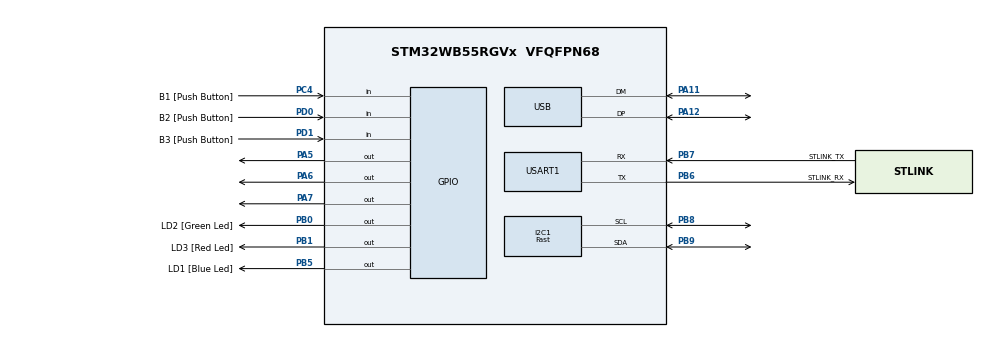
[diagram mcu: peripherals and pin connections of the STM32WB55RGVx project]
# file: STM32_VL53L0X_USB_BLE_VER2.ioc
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I2C1.I2C_Speed_Mode=I2C_Fast
I2C1.Timing=0x00300F38
Mcu.Family=STM32WB
Mcu.Name=STM32WB55RGVx
Mcu.Package=VFQFPN68
NVIC.HSEM_IRQn=true\:0\:0\:false\:false\:true\:false\:true\:true
NVIC.IPCC_C1_RX_IRQn=true\:0\:0\:false\:false\:true\:true\:true\:true
NVIC.IPCC_C1_TX_IRQn=true\:0\:0\:false\:false\:true\:true\:true\:true
NVIC.PriorityGroup=NVIC_PRIORITYGROUP_4
NVIC.USB_LP_IRQn=true\:0\:0\:false\:false\:true\:false\:true\:true
OSC_IN.Mode=HSE-External-Oscillator
OSC_IN.Signal=RCC_OSC_IN
OSC_OUT.Mode=HSE-External-Oscillator
OSC_OUT.Signal=RCC_OSC_OUT
PA11.Mode=Device
PA11.Signal=USB_DM
PA12.Mode=Device
PA12.Signal=USB_DP
PA13.GPIO_Label=JTMS
PA13.Mode=Trace_Asynchronous_SW
PA13.Signal=SYS_JTMS-SWDIO
PA14.GPIO_Label=JTCK
PA14.Mode=Trace_Asynchronous_SW
PA14.Signal=SYS_JTCK-SWCLK
PA5.Signal=GPIO_Output
PA6.Signal=GPIO_Output
PA7.Signal=GPIO_Output
PB0.GPIO_Label=LD2 [Green Led]
PB0.Signal=GPIO_Output
PB1.GPIO_Label=LD3 [Red Led]
PB1.Signal=GPIO_Output
PB3.GPIO_Label=JTDO
PB3.Mode=Trace_Asynchronous_SW
PB3.Signal=SYS_JTDO-SWO
PB5.GPIO_Label=LD1 [Blue Led]
PB5.Signal=GPIO_Output
PB6.GPIO_Label=STLINK_RX
PB6.GPIO_PuPd=GPIO_PULLUP
PB6.Mode=Asynchronous
PB6.Signal=USART1_TX
PB7.GPIO_Label=STLINK_TX
PB7.GPIO_PuPd=GPIO_PULLUP
PB7.Mode=Asynchronous
PB7.Signal=USART1_RX
PB8.Mode=I2C
PB8.Signal=I2C1_SCL
PB9.Mode=I2C
PB9.Signal=I2C1_SDA
PC13.Mode=SYS_WakeUp1
PC13.Signal=SYS_WKUP2
PC14-OSC32_IN.Mode=LSE-External-Oscillator
PC14-OSC32_IN.Signal=RCC_OSC32_IN
PC15-OSC32_OUT.Mode=LSE-External-Oscillator
PC15-OSC32_OUT.Signal=RCC_OSC32_OUT
PC4.GPIO_Label=B1 [Push Button]
PC4.GPIO_PuPd=GPIO_PULLUP
PC4.Signal=GPIO_Input
PD0.GPIO_Label=B2 [Push Button]
PD0.Signal=GPIO_Input
PD1.GPIO_Label=B3 [Push Button]
PD1.Signal=GPIO_Input
ProjectManager.HeapSize=0x800
ProjectManager.StackSize=0x800
ProjectManager.TargetToolchain=STM32CubeIDE
RCC.ADCFreq_Value=48000000
RCC.AHBFreq_Value=32000000
RCC.APB1Freq_Value=32000000
RCC.APB1TimFreq_Value=32000000
RCC.APB2Freq_Value=32000000
RCC.APB2TimFreq_Value=32000000
RCC.APB3Freq_Value=16000000
RCC.CK48CLockSelection=RCC_USBCLKSOURCE_HSI48
RCC.CortexFreq_Value=32000000
RCC.HCLKFreq_Value=32000000
RCC.HSE_VALUE=32000000
RCC.HSI48_VALUE=48000000
RCC.HSI_VALUE=16000000
RCC.PLLN=24
RCC.PLLR=RCC_PLLR_DIV3
RCC.PLLSAI1N=24
RCC.RFWKPClockSelection=RCC_RFWKPCLKSOURCE_LSE
RCC.RTCClockSelection=RCC_RTCCLKSOURCE_LSE
RCC.SMPSCLockSelectionVirtual=RCC_SMPSCLKSOURCE_HSI
RCC.SMPSCLockSelectionVirtualVirtual=RCC_SMPSCLKSOURCE_HSI
RCC.SMPSDivider=1
RCC.SYSCLKFreq_VALUE=32000000
RCC.SYSCLKSource=RCC_SYSCLKSOURCE_PLLCLK
RCC.USBFreq_Value=48000000
RCC.VCOOutputFreq_Value=96000000
RF1.Mode=RF1_Activate
RF1.Signal=RF_RF1
STM32_WPAN.AD_TYPE_COMPLETE_LOCAL_NAME=JAEHYUN
STM32_WPAN.AD_TYPE_COMPLETE_LOCAL_NAME_LENGTH=8
STM32_WPAN.APPLI_PRINT_FILE_FUNC_LINE=0
STM32_WPAN.CFG_CLI_UART=No UART selected
STM32_WPAN.CFG_DEBUG_TRACE=0
STM32_WPAN.CFG_FULL_LOW_POWER=0
STM32_WPAN.CFG_UART_GUI=No UART selected
STM32_WPAN.CFG_USB_INTERFACE_ENABLE=Disabled
STM32_WPAN.CHANNEL=0
STM32_WPAN.CUSTOM_P2P_SERVER=Disabled
STM32_WPAN.CUSTOM_TEMPLATE=Enabled
STM32_WPAN.INCLUDE_AD_TYPE_COMPLETE_LOCAL_NAME=1
STM32_WPAN.LOCAL_NAME=0
STM32_WPAN.LOCAL_NAME_FORMATTED=LocalName
STM32_WPAN.NETWORKKEY=0
STM32_WPAN.NUMBER_OF_SERVICES=1
STM32_WPAN.OFFSET_PAYLOAD_DATA=10
STM32_WPAN.OFFSET_PAYLOAD_LENGTH=9
STM32_WPAN.PANID=0
STM32_WPAN.SERVICE1_CHAR1_GATT_NOTIFY_READ_REQ_AND_WAIT_FOR_APPL_RESP=\ 
STM32_WPAN.SERVICE1_CHAR1_GATT_NOTIFY_WRITE_REQ_AND_WAIT_FOR_APPL_RESP=\ 
STM32_WPAN.SERVICE1_CHAR1_LONG_NAME=myCharWrite
STM32_WPAN.SERVICE1_CHAR1_PROP_WRITE=CHAR_PROP_WRITE
STM32_WPAN.SERVICE1_CHAR1_SHORT_NAME=myCharWrite
STM32_WPAN.SERVICE1_CHAR2_UUID=0
STM32_WPAN.SERVICE1_CHAR2_UUID_128_INPUT_TYPE=0
STM32_WPAN.SERVICE1_CHAR2_UUID_TYPE=0
STM32_WPAN.SERVICE1_CHAR3_UUID=0
STM32_WPAN.SERVICE1_CHAR3_UUID_128_INPUT_TYPE=0
STM32_WPAN.SERVICE1_CHAR3_UUID_TYPE=0
STM32_WPAN.SERVICE1_CHAR4_UUID_128_INPUT_TYPE=0
STM32_WPAN.SERVICE1_CHAR4_UUID_TYPE=0
STM32_WPAN.SERVICE1_CHAR5_UUID=0
STM32_WPAN.SERVICE1_CHAR5_UUID_128_INPUT_TYPE=0
STM32_WPAN.SERVICE1_CHAR5_UUID_TYPE=0
STM32_WPAN.SERVICE1_LONG_NAME=mySVC
STM32_WPAN.SERVICE1_SHORT_NAME=mySVC
STM32_WPAN.SERVICE2_CHAR1_UUID=0
STM32_WPAN.SERVICE2_CHAR1_UUID_128_INPUT_TYPE=0
STM32_WPAN.SERVICE2_CHAR1_UUID_TYPE=0
STM32_WPAN.SERVICE2_CHAR2_UUID=0
STM32_WPAN.SERVICE2_CHAR2_UUID_128_INPUT_TYPE=0
STM32_WPAN.SERVICE2_CHAR2_UUID_TYPE=0
STM32_WPAN.SERVICE2_CHAR3_UUID=0
STM32_WPAN.SERVICE2_CHAR3_UUID_128_INPUT_TYPE=0
STM32_WPAN.SERVICE2_CHAR3_UUID_TYPE=0
STM32_WPAN.SERVICE2_CHAR4_UUID=0
STM32_WPAN.SERVICE2_CHAR4_UUID_128_INPUT_TYPE=0
STM32_WPAN.SERVICE2_CHAR4_UUID_TYPE=0
STM32_WPAN.SERVICE2_CHAR5_UUID=0
STM32_WPAN.SERVICE2_CHAR5_UUID_128_INPUT_TYPE=0
STM32_WPAN.SERVICE2_CHAR5_UUID_TYPE=0
STM32_WPAN.SERVICE2_MAX_ATTRIBUTES_RECORDS=0
STM32_WPAN.SERVICE2_UUID_TYPE=0
STM32_WPAN.SERVICE3_CHAR1_UUID=0
STM32_WPAN.SERVICE3_CHAR1_UUID_128_INPUT_TYPE=0
STM32_WPAN.SERVICE3_CHAR1_UUID_TYPE=0
STM32_WPAN.SERVICE3_CHAR2_UUID=0
STM32_WPAN.SERVICE3_CHAR2_UUID_128_INPUT_TYPE=0
STM32_WPAN.SERVICE3_CHAR2_UUID_TYPE=0
STM32_WPAN.SERVICE3_CHAR3_UUID=0
STM32_WPAN.SERVICE3_CHAR3_UUID_128_INPUT_TYPE=0
STM32_WPAN.SERVICE3_CHAR3_UUID_TYPE=0
STM32_WPAN.SERVICE3_CHAR4_UUID=0
STM32_WPAN.SERVICE3_CHAR4_UUID_128_INPUT_TYPE=0
STM32_WPAN.SERVICE3_CHAR4_UUID_TYPE=0
STM32_WPAN.SERVICE3_CHAR5_UUID=0
STM32_WPAN.SERVICE3_CHAR5_UUID_128_INPUT_TYPE=0
STM32_WPAN.SERVICE3_CHAR5_UUID_TYPE=0
STM32_WPAN.SERVICE3_MAX_ATTRIBUTES_RECORDS=0
STM32_WPAN.SERVICE3_UUID_TYPE=0
STM32_WPAN.SERVICE4_CHAR1_UUID=0
STM32_WPAN.SERVICE4_CHAR1_UUID_128_INPUT_TYPE=0
STM32_WPAN.SERVICE4_CHAR1_UUID_TYPE=0
STM32_WPAN.SERVICE4_CHAR2_UUID=0
STM32_WPAN.SERVICE4_CHAR2_UUID_128_INPUT_TYPE=0
STM32_WPAN.SERVICE4_CHAR2_UUID_TYPE=0
STM32_WPAN.SERVICE4_CHAR3_UUID=0
STM32_WPAN.SERVICE4_CHAR3_UUID_128_INPUT_TYPE=0
STM32_WPAN.SERVICE4_CHAR3_UUID_TYPE=0
STM32_WPAN.SERVICE4_CHAR4_UUID=0
STM32_WPAN.SERVICE4_CHAR4_UUID_128_INPUT_TYPE=0
STM32_WPAN.SERVICE4_CHAR4_UUID_TYPE=0
STM32_WPAN.SERVICE4_CHAR5_UUID=0
STM32_WPAN.SERVICE4_CHAR5_UUID_128_INPUT_TYPE=0
STM32_WPAN.SERVICE4_CHAR5_UUID_TYPE=0
STM32_WPAN.SERVICE4_MAX_ATTRIBUTES_RECORDS=0
STM32_WPAN.SERVICE4_UUID_TYPE=0
STM32_WPAN.SERVICE5_CHAR1_UUID=0
STM32_WPAN.SERVICE5_CHAR1_UUID_128_INPUT_TYPE=0
STM32_WPAN.SERVICE5_CHAR1_UUID_TYPE=0
STM32_WPAN.SERVICE5_CHAR2_UUID=0
STM32_WPAN.SERVICE5_CHAR2_UUID_128_INPUT_TYPE=0
STM32_WPAN.SERVICE5_CHAR2_UUID_TYPE=0
STM32_WPAN.SERVICE5_CHAR3_UUID=0
STM32_WPAN.SERVICE5_CHAR3_UUID_128_INPUT_TYPE=0
STM32_WPAN.SERVICE5_CHAR3_UUID_TYPE=0
STM32_WPAN.SERVICE5_CHAR4_UUID=0
STM32_WPAN.SERVICE5_CHAR4_UUID_128_INPUT_TYPE=0
STM32_WPAN.SERVICE5_CHAR4_UUID_TYPE=0
STM32_WPAN.SERVICE5_CHAR5_UUID=0
STM32_WPAN.SERVICE5_CHAR5_UUID_128_INPUT_TYPE=0
STM32_WPAN.SERVICE5_CHAR5_UUID_TYPE=0
STM32_WPAN.SERVICE5_MAX_ATTRIBUTES_RECORDS=0
STM32_WPAN.SERVICE5_UUID_TYPE=0
USART1.VirtualMode-Asynchronous=VM_ASYNC
USB_DEVICE.CLASS_NAME_FS=CDC
USB_DEVICE.VirtualMode=Cdc
USB_DEVICE.VirtualModeFS=Cdc_FS
VP_HSEM_VS_HSEM.Mode=HSEM_Activate
VP_IPCC_VS_IPCC.Mode=IPCC_Activate
VP_RTC_VS_RTC_Activate.Mode=RTC_Enabled
VP_SEQUENCER_VS_SEQUENCER.Mode=SEQUENCER_Enabled
VP_STM32_WPAN_VS_BLE_HOST.Mode=STM32_WPAN_Enabled
VP_TINY_LPM_VS_TINY_LPM.Mode=TINY_LPM_Enabled
VP_USB_DEVICE_VS_USB_DEVICE_CDC_FS.Mode=CDC_FS
board=P-NUCLEO-WB55-NUCLEO

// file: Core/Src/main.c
/* USER CODE BEGIN Header */
/**
  ******************************************************************************
  * @file           : main.c
  * @brief          : Main program body
  ******************************************************************************
  * @attention
  *
  * Copyright (c) 2022 STMicroelectronics.
  * All rights reserved.
  *
  * This software is licensed under terms that can be found in the LICENSE file
  * in the root directory of this software component.
  * If no LICENSE file comes with this software, it is provided AS-IS.
  *
  ******************************************************************************
  */
/* USER CODE END Header */
#include "main.h"
#include "usb_device.h"

/* USER CODE BEGIN Includes */
#include <stdio.h>
#include <strings.h>
#include "vl53l0x_api.h"
#include "vl53l0x_platform.h"
/* USER CODE END Includes */

I2C_HandleTypeDef hi2c1;

IPCC_HandleTypeDef hipcc;

RTC_HandleTypeDef hrtc;

UART_HandleTypeDef huart1;

void SystemClock_Config(void);
void PeriphCommonClock_Config(void);
static void MX_GPIO_Init(void);
static void MX_USART1_UART_Init(void);
static void MX_IPCC_Init(void);
static void MX_RF_Init(void);
static void MX_RTC_Init(void);
static void MX_I2C1_Init(void);

/* USER CODE BEGIN 0 */
int count = 0;
int flag = 10;
VL53L0X_RangingMeasurementData_t RangingMeasurementData;
VL53L0X_Dev_t		dev;
VL53L0X_DEV			Dev = &dev;
char ary[50];
int sensor = 0;
uint16_t stop = 10000;
void print_pal_error(VL53L0X_Error Status){
    char buf[VL53L0X_MAX_STRING_LENGTH];
    VL53L0X_GetPalErrorString(Status, buf);
//    sprintf(ary,"API Status: %i : %s\n", Status, buf);
//    HAL_UART_Transmit(&huart1, ary, strlen((char*)ary), 0xFFFF);
}

VL53L0X_Error rangingTest(VL53L0X_Dev_t *pMyDevice)
{

    VL53L0X_Error Status = VL53L0X_ERROR_NONE;
    VL53L0X_RangingMeasurementData_t    RangingMeasurementData;
    int i;
    FixPoint1616_t LimitCheckCurrent;
    uint32_t refSpadCount;
    uint8_t isApertureSpads;
    uint8_t VhvSettings;
    uint8_t PhaseCal;

    if(Status == VL53L0X_ERROR_NONE)
    {
//        sprintf (ary,"Call of VL53L0X_StaticInit\n");
//        HAL_UART_Transmit(&huart1, ary, strlen((char*)ary), 0xFFFF);
        Status = VL53L0X_StaticInit(pMyDevice); // Device Initialization
        print_pal_error(Status);
    }

    if(Status == VL53L0X_ERROR_NONE)
    {
//        sprintf (ary,"Call of VL53L0X_PerformRefCalibration\n");
//        HAL_UART_Transmit(&huart1, ary, strlen((char*)ary), 0xFFFF);
        Status = VL53L0X_PerformRefCalibration(pMyDevice,
        		&VhvSettings, &PhaseCal); // Device Initialization
        print_pal_error(Status);
    }

    if(Status == VL53L0X_ERROR_NONE)
    {
//        printf ("Call of VL53L0X_PerformRefSpadManagement\n");
        Status = VL53L0X_PerformRefSpadManagement(pMyDevice,
        		&refSpadCount, &isApertureSpads); // Device Initialization
//        printf ("refSpadCount = %d, isApertureSpads = %d\n", refSpadCount, isApertureSpads);
        print_pal_error(Status);
    }

    if(Status == VL53L0X_ERROR_NONE)
    {

        // no need to do this when we use VL53L0X_PerformSingleRangingMeasurement
//        printf ("Call of VL53L0X_SetDeviceMode\n");
        Status = VL53L0X_SetDeviceMode(pMyDevice, VL53L0X_DEVICEMODE_SINGLE_RANGING); // Setup in single ranging mode
        print_pal_error(Status);
    }

    // Enable/Disable Sigma and Signal check
    if (Status == VL53L0X_ERROR_NONE) {
        Status = VL53L0X_SetLimitCheckEnable(pMyDevice,
        		VL53L0X_CHECKENABLE_SIGMA_FINAL_RANGE, 1);
    }
    if (Status == VL53L0X_ERROR_NONE) {
        Status = VL53L0X_SetLimitCheckEnable(pMyDevice,
        		VL53L0X_CHECKENABLE_SIGNAL_RATE_FINAL_RANGE, 1);
    }

    if (Status == VL53L0X_ERROR_NONE) {
        Status = VL53L0X_SetLimitCheckEnable(pMyDevice,
        		VL53L0X_CHECKENABLE_RANGE_IGNORE_THRESHOLD, 1);
    }

    if (Status == VL53L0X_ERROR_NONE) {
        Status = VL53L0X_SetLimitCheckValue(pMyDevice,
        		VL53L0X_CHECKENABLE_RANGE_IGNORE_THRESHOLD,
        		(FixPoint1616_t)(1.5*0.023*65536));
    }

    /*
     *  Step  4 : Test ranging mode
     */

    if(Status == VL53L0X_ERROR_NONE)
    {
//        for(i=0;i<10;i++){
//            printf ("Call of VL53L0X_PerformSingleRangingMeasurement\n");
            Status = VL53L0X_PerformSingleRangingMeasurement(pMyDevice,
            		&RangingMeasurementData);

            print_pal_error(Status);
            print_range_status(&RangingMeasurementData);

            VL53L0X_GetLimitCheckCurrent(pMyDevice,
            		VL53L0X_CHECKENABLE_RANGE_IGNORE_THRESHOLD, &LimitCheckCurrent);

//            sprintf(ary,"RANGE IGNORE THRESHOLD: %f\n\n", (float)LimitCheckCurrent/65536.0);
//            HAL_UART_Transmit(&huart1, ary, strlen((char*)ary), 0xFFFF);

//            if (Status != VL53L0X_ERROR_NONE) break;

            sprintf(ary,"distance: %icm\n\r",RangingMeasurementData.RangeMilliMeter/1000);
            HAL_UART_Transmit(&huart1, ary, strlen((char*)ary), 10);
                        	if(RangingMeasurementData.RangeMilliMeter < stop){
                        		sensor = 1;
                        }
    }
    return Status;
}
void print_range_status(VL53L0X_RangingMeasurementData_t* pRangingMeasurementData){ //범위 ?��?�� 문자?�� ?��출함?��
    char buf[VL53L0X_MAX_STRING_LENGTH];
    uint8_t RangeStatus;

    /*
     * New Range Status: data is valid when pRangingMeasurementData->RangeStatus = 0
     */

    RangeStatus = pRangingMeasurementData->RangeStatus;

    VL53L0X_GetRangeStatusString(RangeStatus, buf);
//    sprintf(ary,"Range Status: %i : %s\n", RangeStatus, buf);
//    HAL_UART_Transmit(&huart1, ary, strlen((char*)ary), 0xFFFF);

}
/* USER CODE END 0 */

int main(void)
{
  /* USER CODE BEGIN 1 */
	uint8_t emergency[] = "p";
	uint8_t safy[] = "y";
	VL53L0X_Error Status = VL53L0X_ERROR_NONE;
			VL53L0X_Dev_t MyDevice;
			VL53L0X_Dev_t *pMyDevice = &MyDevice;
			int32_t init_done = 0;
  /* USER CODE END 1 */

  /* MCU Configuration--------------------------------------------------------*/

  /* Reset of all peripherals, Initializes the Flash interface and the Systick. */
  HAL_Init();
  /* Config code for STM32_WPAN (HSE Tuning must be done before system clock configuration) */
  MX_APPE_Config();

  /* Configure the system clock */
  SystemClock_Config();

/* Configure the peripherals common clocks */
  PeriphCommonClock_Config();

  /* IPCC initialisation */
   MX_IPCC_Init();

  /* Initialize all configured peripherals */
  MX_GPIO_Init();
  MX_USB_Device_Init();
  MX_USART1_UART_Init();
  MX_RF_Init();
  MX_RTC_Init();
  MX_I2C1_Init();
  /* USER CODE BEGIN 2 */
  pMyDevice->I2cDevAddr      = 0x52;
     pMyDevice->comms_type      =  1;
     pMyDevice->comms_speed_khz =  400;
         if (Status != VL53L0X_ERROR_NONE) {
             Status = VL53L0X_ERROR_CONTROL_INTERFACE;
             init_done = 1;
         } else{
//          sprintf (ary,"Init Comms\n");
//         HAL_UART_Transmit(&huart1, ary, strlen((char*)ary), 0xFFFF);
         }
   #ifdef VL53L0X_LOG_ENABLE
       VL53L0X_trace_config("test.log", TRACE_MODULE_ALL, TRACE_LEVEL_ALL, TRACE_FUNCTION_ALL);
   #endif
       HAL_GPIO_WritePin(GPIOA, GPIO_PIN_5, 0);
       HAL_GPIO_WritePin(GPIOA, GPIO_PIN_6, 0);
//       HAL_GPIO_WritePin(GPIOA, GPIO_PIN_7, 0);
  /* USER CODE END 2 */

  /* Init code for STM32_WPAN */
  MX_APPE_Init();

  /* Infinite loop */
  while (1)
  {
    MX_APPE_Process();

    /* USER CODE BEGIN 3 */
    if(Status == VL53L0X_ERROR_NONE)
   	  	      {
   	  		  	  HAL_GPIO_WritePin(GPIOA, GPIO_PIN_5, 1);
   	  		  	  HAL_GPIO_WritePin(GPIOA, GPIO_PIN_6, 0);
   	  		  	  HAL_GPIO_WritePin(GPIOA, GPIO_PIN_7, 0);
   	  		  	  sprintf(ary,"left sensor ");
   	  		  	  HAL_UART_Transmit(&huart1, ary, strlen((char *)ary), 10);
   	  	          Status = rangingTest(pMyDevice);

   	  	          HAL_GPIO_WritePin(GPIOA, GPIO_PIN_5, 0);
   	  	          HAL_GPIO_WritePin(GPIOA, GPIO_PIN_6, 1);
   	  	          HAL_GPIO_WritePin(GPIOA, GPIO_PIN_7, 0);
   	  	          sprintf(ary,"center sensor ");
   	  	          HAL_UART_Transmit(&huart1, ary, strlen((char *)ary), 10);
   	  	          Status = rangingTest(pMyDevice);

   	  	          HAL_GPIO_WritePin(GPIOA, GPIO_PIN_5, 0);
   	  	          HAL_GPIO_WritePin(GPIOA, GPIO_PIN_6, 0);
   	  	          HAL_GPIO_WritePin(GPIOA, GPIO_PIN_7, 1);
   	  			  sprintf(ary,"right sensor ");
   	  			  HAL_UART_Transmit(&huart1, ary, strlen((char *)ary), 10);
   	  			  Status = rangingTest(pMyDevice);

   	  			  if(sensor == 1){
   	  				CDC_Transmit_FS(emergency, sizeof(emergency));
   	  			  }
   	  			  else if(sensor == 0){
   	  				CDC_Transmit_FS(safy, sizeof(safy));
   	  			  }
   	  			  sensor = 0;
   	  	      }
//    if(flag != 10){
//    	uint8_t Buf = flag-0x30;
//    	CDC_Transmit_FS(Buf, sizeof(Buf));
//    	flag = 10;
//    }
  }
  /* USER CODE END 3 */
}

void SystemClock_Config(void)
{
  RCC_OscInitTypeDef RCC_OscInitStruct = {0};
  RCC_ClkInitTypeDef RCC_ClkInitStruct = {0};

  /** Configure LSE Drive Capability
  */
  HAL_PWR_EnableBkUpAccess();
  __HAL_RCC_LSEDRIVE_CONFIG(RCC_LSEDRIVE_LOW);

  /** Configure the main internal regulator output voltage
  */
  __HAL_PWR_VOLTAGESCALING_CONFIG(PWR_REGULATOR_VOLTAGE_SCALE1);

  /** Initializes the RCC Oscillators according to the specified parameters
  * in the RCC_OscInitTypeDef structure.
  */
  RCC_OscInitStruct.OscillatorType = RCC_OSCILLATORTYPE_HSI48|RCC_OSCILLATORTYPE_HSI
                              |RCC_OSCILLATORTYPE_HSE|RCC_OSCILLATORTYPE_LSE
                              |RCC_OSCILLATORTYPE_MSI;
  RCC_OscInitStruct.HSEState = RCC_HSE_ON;
  RCC_OscInitStruct.LSEState = RCC_LSE_ON;
  RCC_OscInitStruct.HSIState = RCC_HSI_ON;
  RCC_OscInitStruct.MSIState = RCC_MSI_ON;
  RCC_OscInitStruct.HSI48State = RCC_HSI48_ON;
  RCC_OscInitStruct.HSICalibrationValue = RCC_HSICALIBRATION_DEFAULT;
  RCC_OscInitStruct.MSICalibrationValue = RCC_MSICALIBRATION_DEFAULT;
  RCC_OscInitStruct.MSIClockRange = RCC_MSIRANGE_6;
  RCC_OscInitStruct.PLL.PLLState = RCC_PLL_ON;
  RCC_OscInitStruct.PLL.PLLSource = RCC_PLLSOURCE_MSI;
  RCC_OscInitStruct.PLL.PLLM = RCC_PLLM_DIV1;
  RCC_OscInitStruct.PLL.PLLN = 24;
  RCC_OscInitStruct.PLL.PLLP = RCC_PLLP_DIV2;
  RCC_OscInitStruct.PLL.PLLR = RCC_PLLR_DIV3;
  RCC_OscInitStruct.PLL.PLLQ = RCC_PLLQ_DIV2;
  if (HAL_RCC_OscConfig(&RCC_OscInitStruct) != HAL_OK)
  {
    Error_Handler();
  }

  /** Configure the SYSCLKSource, HCLK, PCLK1 and PCLK2 clocks dividers
  */
  RCC_ClkInitStruct.ClockType = RCC_CLOCKTYPE_HCLK4|RCC_CLOCKTYPE_HCLK2
                              |RCC_CLOCKTYPE_HCLK|RCC_CLOCKTYPE_SYSCLK
                              |RCC_CLOCKTYPE_PCLK1|RCC_CLOCKTYPE_PCLK2;
  RCC_ClkInitStruct.SYSCLKSource = RCC_SYSCLKSOURCE_PLLCLK;
  RCC_ClkInitStruct.AHBCLKDivider = RCC_SYSCLK_DIV1;
  RCC_ClkInitStruct.APB1CLKDivider = RCC_HCLK_DIV1;
  RCC_ClkInitStruct.APB2CLKDivider = RCC_HCLK_DIV1;
  RCC_ClkInitStruct.AHBCLK2Divider = RCC_SYSCLK_DIV1;
  RCC_ClkInitStruct.AHBCLK4Divider = RCC_SYSCLK_DIV1;

  if (HAL_RCC_ClockConfig(&RCC_ClkInitStruct, FLASH_LATENCY_1) != HAL_OK)
  {
    Error_Handler();
  }
}

void PeriphCommonClock_Config(void)
{
  RCC_PeriphCLKInitTypeDef PeriphClkInitStruct = {0};

  /** Initializes the peripherals clock
  */
  PeriphClkInitStruct.PeriphClockSelection = RCC_PERIPHCLK_SMPS|RCC_PERIPHCLK_RFWAKEUP;
  PeriphClkInitStruct.RFWakeUpClockSelection = RCC_RFWKPCLKSOURCE_LSE;
  PeriphClkInitStruct.SmpsClockSelection = RCC_SMPSCLKSOURCE_HSI;
  PeriphClkInitStruct.SmpsDivSelection = RCC_SMPSCLKDIV_RANGE0;

  if (HAL_RCCEx_PeriphCLKConfig(&PeriphClkInitStruct) != HAL_OK)
  {
    Error_Handler();
  }
  /* USER CODE BEGIN Smps */
  LL_HSEM_1StepLock( HSEM, 5 );
  /* USER CODE END Smps */
}

static void MX_I2C1_Init(void)
{

  hi2c1.Instance = I2C1;
  hi2c1.Init.Timing = 0x00300F38;
  hi2c1.Init.OwnAddress1 = 0;
  hi2c1.Init.AddressingMode = I2C_ADDRESSINGMODE_7BIT;
  hi2c1.Init.DualAddressMode = I2C_DUALADDRESS_DISABLE;
  hi2c1.Init.OwnAddress2 = 0;
  hi2c1.Init.OwnAddress2Masks = I2C_OA2_NOMASK;
  hi2c1.Init.GeneralCallMode = I2C_GENERALCALL_DISABLE;
  hi2c1.Init.NoStretchMode = I2C_NOSTRETCH_DISABLE;
  if (HAL_I2C_Init(&hi2c1) != HAL_OK)
  {
    Error_Handler();
  }

  /** Configure Analogue filter
  */
  if (HAL_I2CEx_ConfigAnalogFilter(&hi2c1, I2C_ANALOGFILTER_ENABLE) != HAL_OK)
  {
    Error_Handler();
  }

  /** Configure Digital filter
  */
  if (HAL_I2CEx_ConfigDigitalFilter(&hi2c1, 0) != HAL_OK)
  {
    Error_Handler();
  }

}

static void MX_IPCC_Init(void)
{

  hipcc.Instance = IPCC;
  if (HAL_IPCC_Init(&hipcc) != HAL_OK)
  {
    Error_Handler();
  }

}

static void MX_RF_Init(void)
{

}

static void MX_RTC_Init(void)
{

  /** Initialize RTC Only
  */
  hrtc.Instance = RTC;
  hrtc.Init.HourFormat = RTC_HOURFORMAT_24;
  hrtc.Init.AsynchPrediv = CFG_RTC_ASYNCH_PRESCALER;
  hrtc.Init.SynchPrediv = CFG_RTC_SYNCH_PRESCALER;
  hrtc.Init.OutPut = RTC_OUTPUT_DISABLE;
  hrtc.Init.OutPutPolarity = RTC_OUTPUT_POLARITY_HIGH;
  hrtc.Init.OutPutType = RTC_OUTPUT_TYPE_OPENDRAIN;
  hrtc.Init.OutPutRemap = RTC_OUTPUT_REMAP_NONE;
  if (HAL_RTC_Init(&hrtc) != HAL_OK)
  {
    Error_Handler();
  }

}

static void MX_USART1_UART_Init(void)
{

  huart1.Instance = USART1;
  huart1.Init.BaudRate = 115200;
  huart1.Init.WordLength = UART_WORDLENGTH_8B;
  huart1.Init.StopBits = UART_STOPBITS_1;
  huart1.Init.Parity = UART_PARITY_NONE;
  huart1.Init.Mode = UART_MODE_TX_RX;
  huart1.Init.HwFlowCtl = UART_HWCONTROL_NONE;
  huart1.Init.OverSampling = UART_OVERSAMPLING_16;
  huart1.Init.OneBitSampling = UART_ONE_BIT_SAMPLE_DISABLE;
  huart1.Init.ClockPrescaler = UART_PRESCALER_DIV1;
  huart1.AdvancedInit.AdvFeatureInit = UART_ADVFEATURE_NO_INIT;
  if (HAL_UART_Init(&huart1) != HAL_OK)
  {
    Error_Handler();
  }
  if (HAL_UARTEx_SetTxFifoThreshold(&huart1, UART_TXFIFO_THRESHOLD_1_8) != HAL_OK)
  {
    Error_Handler();
  }
  if (HAL_UARTEx_SetRxFifoThreshold(&huart1, UART_RXFIFO_THRESHOLD_1_8) != HAL_OK)
  {
    Error_Handler();
  }
  if (HAL_UARTEx_DisableFifoMode(&huart1) != HAL_OK)
  {
    Error_Handler();
  }

}

static void MX_GPIO_Init(void)
{
  GPIO_InitTypeDef GPIO_InitStruct = {0};

  /* GPIO Ports Clock Enable */
  __HAL_RCC_GPIOC_CLK_ENABLE();
  __HAL_RCC_GPIOB_CLK_ENABLE();
  __HAL_RCC_GPIOA_CLK_ENABLE();
  __HAL_RCC_GPIOD_CLK_ENABLE();

  /*Configure GPIO pin Output Level */
  HAL_GPIO_WritePin(GPIOA, GPIO_PIN_5|GPIO_PIN_6|GPIO_PIN_7, GPIO_PIN_RESET);

  /*Configure GPIO pin Output Level */
  HAL_GPIO_WritePin(GPIOB, LD2_Pin|LD3_Pin|LD1_Pin, GPIO_PIN_RESET);

  /*Configure GPIO pins : PA5 PA6 PA7 */
  GPIO_InitStruct.Pin = GPIO_PIN_5|GPIO_PIN_6|GPIO_PIN_7;
  GPIO_InitStruct.Mode = GPIO_MODE_OUTPUT_PP;
  GPIO_InitStruct.Pull = GPIO_NOPULL;
  GPIO_InitStruct.Speed = GPIO_SPEED_FREQ_LOW;
  HAL_GPIO_Init(GPIOA, &GPIO_InitStruct);

  /*Configure GPIO pin : B1_Pin */
  GPIO_InitStruct.Pin = B1_Pin;
  GPIO_InitStruct.Mode = GPIO_MODE_INPUT;
  GPIO_InitStruct.Pull = GPIO_PULLUP;
  HAL_GPIO_Init(B1_GPIO_Port, &GPIO_InitStruct);

  /*Configure GPIO pins : LD2_Pin LD3_Pin LD1_Pin */
  GPIO_InitStruct.Pin = LD2_Pin|LD3_Pin|LD1_Pin;
  GPIO_InitStruct.Mode = GPIO_MODE_OUTPUT_PP;
  GPIO_InitStruct.Pull = GPIO_NOPULL;
  GPIO_InitStruct.Speed = GPIO_SPEED_FREQ_LOW;
  HAL_GPIO_Init(GPIOB, &GPIO_InitStruct);

  /*Configure GPIO pins : B2_Pin B3_Pin */
  GPIO_InitStruct.Pin = B2_Pin|B3_Pin;
  GPIO_InitStruct.Mode = GPIO_MODE_INPUT;
  GPIO_InitStruct.Pull = GPIO_NOPULL;
  HAL_GPIO_Init(GPIOD, &GPIO_InitStruct);

}

void Error_Handler(void)
{
  __disable_irq();
  while (1)
  {
  }
}
